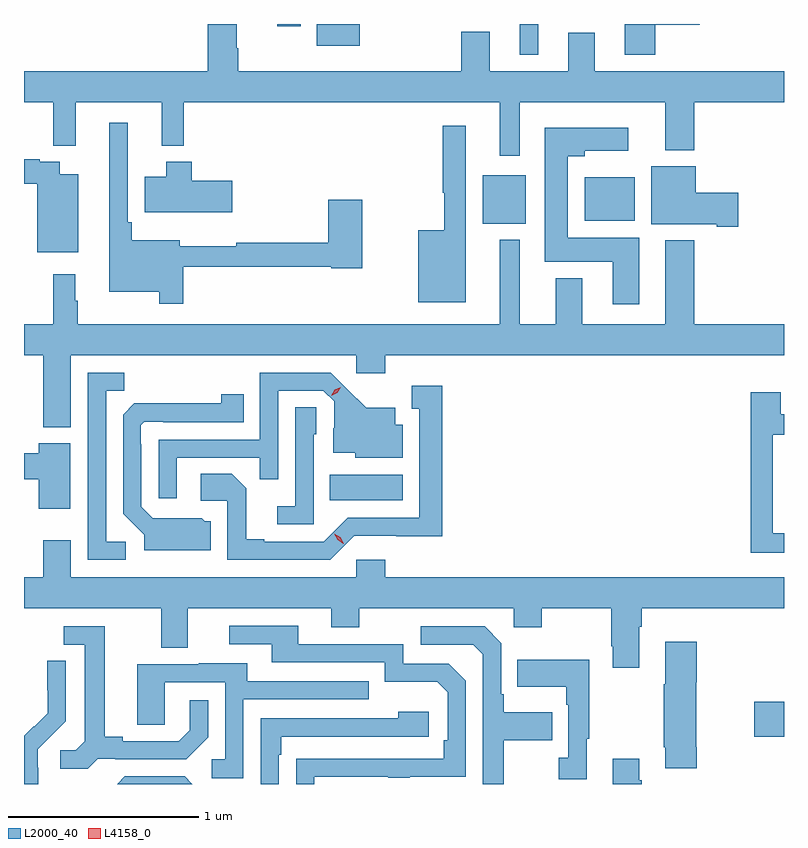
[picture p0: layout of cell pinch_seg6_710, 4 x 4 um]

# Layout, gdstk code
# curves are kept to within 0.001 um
import gdstk
lib = gdstk.Library(unit=1e-6, precision=1e-09)
def R(c, l, rs):  # rectangles x0, y0, x1, y1
    for r in rs: c.add(gdstk.rectangle(r[:2], r[2:], *l))
def P(c, l, *ps):  # polygons
    for p in ps: c.add(gdstk.Polygon(p, *l))
L2000_40 = (2000, 40)
L4158_0 = (4158, 0)

pinch_seg6_710 = lib.new_cell('pinch_seg6_710')
R(pinch_seg6_710, L2000_40, [(625.56,936.005,625.717,936.188), (623.326,937.25,623.71,937.384), (624.131,938.705,624.358,938.959), (624.668,938.72,624.931,938.95), (624.326,939.594,624.424,939.756), (623.258,939.641,623.483,939.756), (623.051,939.744,623.173,939.756)])
P(pinch_seg6_710, L2000_40, [(624.325,939.344),(625.091,939.344),(625.091,939.092),(625.244,939.092),(625.244,939.344),(625.717,939.344),(625.717,939.508),(624.721,939.508),(624.721,939.71),(624.581,939.71),(624.581,939.508),(624.169,939.508),(624.169,939.715),(624.017,939.715),(624.017,939.508),(622.845,939.508),(622.845,939.629),(622.837,939.629),(622.837,939.756),(622.685,939.756),(622.685,939.508),(621.717,939.508),(621.717,939.344),(621.871,939.344),(621.871,939.115),(621.989,939.115),(621.989,939.344),(622.442,939.344),(622.442,939.116),(622.559,939.116),(622.559,939.344),(624.221,939.344),(624.221,939.063),(624.325,939.063)],
  [(625.04,939.752),(625.273,939.752),(625.273,939.756),(624.878,939.756),(624.878,939.594),(625.04,939.594)],
  [(622.556,938.478),(623.334,938.478),(623.334,938.47),(623.496,938.47),(623.496,938.83),(623.318,938.83),(623.318,938.606),(622.833,938.606),(622.833,938.587),(622.537,938.587),(622.537,938.617),(622.283,938.617),(622.283,938.713),(622.263,938.713),(622.263,939.235),(622.166,939.235),(622.166,938.348),(622.428,938.348),(622.428,938.283),(622.556,938.283)],
  [(624.043,939.22),(623.922,939.22),(623.922,938.867),(623.929,938.867),(623.929,938.671),(623.792,938.671),(623.792,938.291),(624.043,938.291)],
  [(624.955,938.632),(624.58,938.632),(624.58,939.059),(624.667,939.059),(624.667,939.089),(624.898,939.089),(624.898,939.211),(624.458,939.211),(624.458,938.504),(624.815,938.504),(624.815,938.28),(624.955,938.28)],
  [(622.003,938.965),(621.904,938.965),(621.904,939.03),(621.8,939.03),(621.8,939.043),(621.717,939.043),(621.717,938.914),(621.788,938.914),(621.788,938.555),(622.003,938.555)],
  [(622.813,938.931),(622.601,938.931),(622.601,939.031),(622.466,939.031),(622.466,938.953),(622.352,938.953),(622.352,938.765),(622.813,938.765)],
  [(625.477,938.868),(625.252,938.868),(625.252,939.007),(625.019,939.007),(625.019,938.702),(625.364,938.702),(625.364,938.69),(625.477,938.69)],
  [(621.964,938.012),(623.466,938.012),(623.466,937.917),(623.618,937.917),(623.618,938.012),(625.717,938.012),(625.717,938.176),(625.244,938.176),(625.244,938.617),(625.091,938.617),(625.091,938.176),(624.655,938.176),(624.655,938.419),(624.515,938.419),(624.515,938.176),(624.325,938.176),(624.325,938.62),(624.221,938.62),(624.221,938.176),(622,938.176),(622,938.3),(621.988,938.3),(621.988,938.44),(621.871,938.44),(621.871,938.176),(621.717,938.176),(621.717,938.012),(621.817,938.012),(621.817,937.634),(621.964,937.634)],
  [(622.252,937.032),(622.149,937.032),(622.149,937.825),(622.245,937.825),(622.245,937.92),(622.053,937.92),(622.053,936.936),(622.252,936.936)],
  [(622.521,937.473),(622.957,937.473),(622.957,937.36),(623.055,937.36),(623.055,937.827),(623.292,937.827),(623.349,937.77),(623.349,937.628),(623.345,937.628),(623.345,937.499),(623.46,937.499),(623.46,937.472),(623.71,937.472),(623.71,937.648),(623.671,937.648),(623.671,937.735),(623.519,937.735),(623.332,937.92),(622.959,937.92),(622.959,937.569),(622.425,937.569),(622.425,937.26),(622.521,937.26)],
  [(623.454,937.062),(623.917,937.061),(623.917,937.852),(623.759,937.852),(623.759,937.731),(623.798,937.731),(623.798,937.158),(623.421,937.158),(623.295,937.032),(622.981,937.032),(622.981,937.045),(622.887,937.045),(622.887,937.312),(622.811,937.388),(622.647,937.388),(622.647,937.248),(622.788,937.248),(622.788,936.936),(623.328,936.936)],
  [(625.717,937.077),(625.659,937.077),(625.659,937.593),(625.717,937.593),(625.717,937.702),(625.699,937.702),(625.699,937.819),(625.543,937.819),(625.543,936.972),(625.717,936.972)],
  [(622.699,937.14),(622.668,937.14),(622.652,937.156),(622.395,937.155),(622.335,937.215),(622.335,937.544),(622.332,937.544),(622.332,937.644),(622.35,937.662),(622.45,937.662),(622.45,937.659),(622.874,937.659),(622.874,937.807),(622.756,937.807),(622.756,937.76),(622.298,937.759),(622.239,937.7),(622.239,937.178),(622.349,937.068),(622.349,936.986),(622.699,936.986)],
  [(623.241,937.596),(623.256,937.596),(623.256,937.739),(623.145,937.739),(623.145,937.219),(623.049,937.219),(623.049,937.122),(623.241,937.122)],
  [(621.961,937.549),(621.794,937.549),(621.794,937.496),(621.717,937.496),(621.717,937.36),(621.794,937.36),(621.794,937.206),(621.961,937.206)],
  [(623.618,936.937),(623.466,936.937),(623.466,936.844),(621.964,936.844),(621.964,937.039),(621.817,937.039),(621.817,936.844),(621.717,936.844),(621.717,936.68),(622.439,936.68),(622.439,936.472),(622.579,936.472),(622.579,936.68),(623.333,936.68),(623.333,936.581),(623.481,936.581),(623.481,936.68),(624.294,936.68),(624.294,936.581),(624.441,936.581),(624.441,936.68),(624.808,936.68),(624.808,936.481),(624.815,936.481),(624.815,936.369),(624.955,936.369),(624.955,936.584),(624.968,936.584),(624.968,936.68),(625.717,936.68),(625.717,936.844),(623.618,936.844)],
  [(623.245,935.793),(623.635,935.793),(623.635,935.788),(623.747,935.788),(623.747,935.793),(624.042,935.793),(624.042,936.3),(623.952,936.39),(623.712,936.39),(623.712,936.492),(623.161,936.492),(623.161,936.588),(622.797,936.588),(622.797,936.492),(623.021,936.492),(623.021,936.396),(623.616,936.396),(623.616,936.293),(623.893,936.293),(623.946,936.24),(623.946,935.986),(623.926,935.986),(623.926,935.889),(623.149,935.888),(623.149,935.756),(623.245,935.756)],
  [(624.241,935.986),(624.497,935.986),(624.497,936.133),(624.241,936.133),(624.241,936.229),(624.228,936.229),(624.228,936.498),(624.141,936.585),(623.805,936.585),(623.805,936.489),(624.081,936.489),(624.132,936.438),(624.131,935.756),(624.241,935.756)],
  [(622.104,935.889),(622.198,935.889),(622.198,935.886),(622.57,935.886),(622.686,936.002),(622.686,936.196),(622.589,936.196),(622.589,936.039),(622.532,935.982),(622.237,935.982),(622.237,936.005),(622.141,936.005),(622.141,936.585),(621.927,936.585),(621.927,936.489),(622.037,936.489),(622.037,935.981),(621.99,935.934),(621.909,935.934),(621.909,935.837),(622.052,935.837)],
  [(625.259,935.95),(625.254,935.95),(625.254,936.292),(625.259,936.292),(625.259,936.505),(625.091,936.505),(625.091,936.281),(625.084,936.281),(625.084,935.95),(625.091,935.95),(625.091,935.838),(625.259,935.838)],
  [(624.679,935.993),(624.691,935.993),(624.691,936.409),(624.313,936.409),(624.313,936.269),(624.57,936.269),(624.57,936.173),(624.582,936.173),(624.582,935.894),(624.531,935.894),(624.531,935.781),(624.679,935.781)],
  [(621.792,935.841),(621.79,935.841),(621.79,935.938),(621.936,936.086),(621.936,936.404),(621.84,936.404),(621.84,936.25),(621.842,936.25),(621.842,936.128),(621.771,936.057),(621.768,936.06),(621.717,936.009),(621.717,935.756),(621.792,935.756)],
  [(622.872,936.201),(623.531,936.201),(623.531,936.297),(622.891,936.297),(622.891,936.391),(622.637,936.391),(622.637,936.387),(622.313,936.387),(622.313,936.067),(622.458,936.067),(622.458,936.291),(622.776,936.291),(622.776,935.886),(622.704,935.886),(622.704,935.785),(622.872,935.785)],
  [(623.058,935.909),(623.071,935.909),(623.071,936.006),(623.848,936.006),(623.848,936.136),(623.687,936.136),(623.687,936.102),(622.962,936.102),(622.962,935.756),(623.058,935.756)],
  [(624.968,935.777),(624.955,935.777),(624.955,935.89),(624.815,935.89),(624.815,935.756),(624.968,935.756)],
  [(622.563,935.796),(622.248,935.796),(622.208,935.756),(622.603,935.756)])
P(pinch_seg6_710, L4158_0, [(623.398,937.021),(623.367,937.041),(623.35,937.074),(623.35,937.074),(623.35,937.074),(623.382,937.054),(623.399,937.021),(623.399,937.021)],
  [(623.335,937.8),(623.335,937.8),(623.353,937.83),(623.384,937.845),(623.384,937.845),(623.384,937.844),(623.366,937.815),(623.335,937.8)])

lib.write_gds('pinch_seg6_710.gds')
